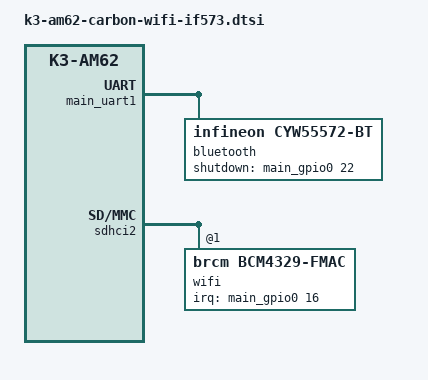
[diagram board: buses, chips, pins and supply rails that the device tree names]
// SPDX-License-Identifier: (GPL-2.0+ OR MIT)
/*
 * Copyright 2024 Ezurio
 */

&main_uart1 {
	bluetooth {
		compatible = "infineon,cyw55572-bt";
		brcm,requires-autobaud-mode;
		max-speed = <921600>;
		shutdown-gpios = <&main_gpio0 22 GPIO_ACTIVE_HIGH>; /* W_DISABLE2# */
		//interrupts-extended = <&main_gpio0 32 IRQ_TYPE_EDGE_FALLING>; /* BT_HOST_WAKE */
		//interrupt-names = "host-wakeup";
	};
};

&sdhci2 {
	wifi@1 {
		reg = <1>;
		compatible = "brcm,bcm4329-fmac";
		interrupts-extended = <&main_gpio0 16 IRQ_TYPE_EDGE_FALLING>; /* SDIO_WAKE# */
		interrupt-names = "host-wake";
		laird,regdomain = "US";
	};
};
